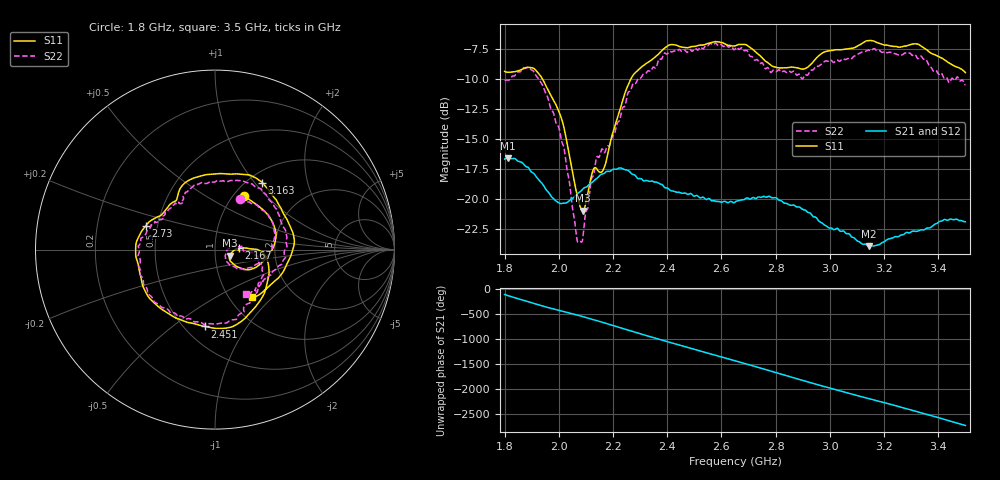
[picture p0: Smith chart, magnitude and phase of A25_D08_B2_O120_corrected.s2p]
! Created with skrf 1.9.0 (http://scikit-rf.org).
# Hz S RI R 50.0
!freq ReS11 ImS11 ReS21 ImS21 ReS12 ImS12 ReS22 ImS22
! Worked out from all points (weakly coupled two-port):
!   1601 points, 1.8 GHz to 3.5 GHz, reference 50 ohm
!   highest |S21| = -16.60 dB at 1.812 GHz (marker M1); lowest = -24.0 dB at 3.144 GHz (marker M2)
!   lowest |S11| = -21.0 dB at 2.088 GHz (marker M3), VSWR 1.20, Z = 58.8 - j4 ohm
!   |S11| at or under -10 dB: 1.94 GHz to 2.265 GHz (325.1 MHz wide, 15.5 % of centre)
!   |S22| runs from -23.7 to -7.0 dB; largest |S21 - S12| = 0.0028
!   S11 on the Smith chart (normalised r, x): 1.8 GHz: 1.12, +0.76; 2.167 GHz: 1.31, +0.02; 2.451 GHz: 0.63, -0.66; 2.73 GHz: 0.43, +0.14; 3.163 GHz: 1.16, +1.09; 3.5 GHz: 1.27, -0.76
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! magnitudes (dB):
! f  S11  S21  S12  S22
! 1.8 GHz  -9.3  -16.7  -16.7  -10.1
! 1.812 GHz  -9.4  -16.6  -16.6  -10.1
! 1.887 GHz  -9.0  -17.4  -17.5  -9.0
! 1.941 GHz  -10.0  -18.8  -18.8  -10.6
! 2.011 GHz  -13.4  -20.4  -20.4  -15.3
! 2.066 GHz  -19.5  -19.6  -19.6  -23.2
! 2.084 GHz  -20.9  -19.3  -19.3  -23.6
! 2.088 GHz  -21.0  -19.2  -19.2  -23.4
! 2.135 GHz  -17.4  -18.4  -18.4  -17.1
! 2.167 GHz  -17.4  -17.9  -17.9  -16.1
! 2.262 GHz  -10.1  -17.8  -17.8  -11.0
! 2.367 GHz  -7.9  -18.7  -18.7  -8.4
! 2.451 GHz  -7.3  -19.5  -19.5  -7.6
! 2.65 GHz  -7.2  -20.3  -20.3  -7.5
! 2.73 GHz  -7.8  -19.9  -20.0  -8.4
! 2.806 GHz  -9.0  -20.0  -20.0  -9.3
! 2.934 GHz  -8.7  -21.4  -21.4  -9.2
! 3.144 GHz  -6.8  -24.0  -23.9  -7.5
! 3.163 GHz  -6.8  -24.0  -23.9  -7.4
! 3.217 GHz  -7.2  -23.4  -23.3  -7.7
! 3.326 GHz  -7.1  -22.7  -22.7  -8.3
! 3.5 GHz  -9.4  -21.9  -21.9  -10.5
